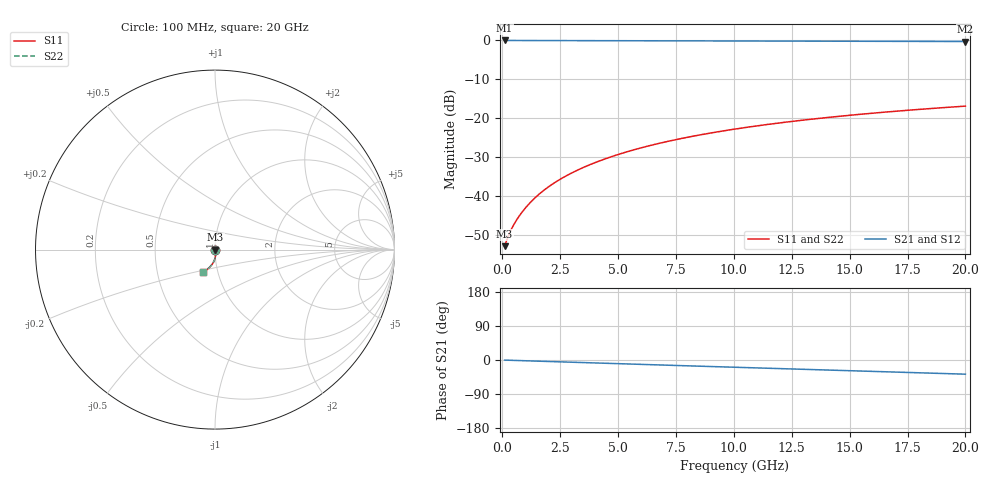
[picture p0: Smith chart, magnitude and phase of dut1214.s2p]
! Touchstone file exported from HFSS 2026.1.0
!  File:  C:/ffzhzh/LocalFiles/Ansys_Project_Files/temp_train_BSMRDL_1214_1783176715_51560.aedt
!  Generated:  10:53:04 PM Jul  4, 2026
!  Design:  BSMRDL
!  Project:  temp_train_BSMRDL_1214_1783176715_51560
! Variables:
!  h_bsmrdl = 4.39um
!  h_ox = 20um
!  h_rdl = 5um
!  h_sub = 80um
!  h_tmrdl = 5um
!  h_tsv = 80um
!  h_via = 3um
!  l_bsmrdl = 651.36um
!  l_sub = 1051.36um
!  l_tmrdl = 200um
!  m_sub = 200um
!  pitch = 30.63um
!  r_tsv = 6um
!  s_tmrdl = 10um
!  w_bsmrdl = 27.87um
!  w_sub = 500um
!  w_tmrdl = 12um
!  x_tsv_center1 = 206um
!  x_tsv_center2 = 885.23um
!  x_tsv_center3 = 1097.23um
!  x_tsv_center4 = 1776.46um
!  x_tsv_center5 = 1988.46um
!  x_tsv_center6 = 2667.69um
# GHz S MA R 50.000000
! Terminal data exported
! Port[1] = BSM_RDL1_1_T1
! Port[2] = BSM_RDL1_1_T2
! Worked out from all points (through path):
!   200 points, 100 MHz to 20 GHz, reference 50 ohm
!   highest |S21| = -0.02 dB at 100 MHz (marker M1); lowest = -0.3 dB at 20 GHz (marker M2)
!   group delay of S21, straight-line fit = 5.17 ps
!   lowest |S11| = -52.9 dB at 100 MHz (marker M3), VSWR 1.00, Z = 50.2 + j0.00899 ohm
!   |S11| at or under -10 dB: start of sweep to end of sweep
!   |S22| runs from -52.9 to -16.9 dB; largest |S21 - S12| = 4.1e-15
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0.1  0.002268 2.3  0.9977 -0.2  0.9977 -0.2  0.002268 2.3
! Gamma 0 0 0 0
! Port Impedance 50 0 50 0
0.3  0.003274 -10.9  0.9968 -0.7  0.9968 -0.7  0.003273 -10.9
0.4  0.003791 -19.5  0.9964 -0.9  0.9964 -0.9  0.00379 -19.5
0.6  0.004826 -33.9  0.9959 -1.2  0.9959 -1.2  0.004826 -33.9
0.9  0.006462 -48.2  0.9955 -1.8  0.9955 -1.8  0.006462 -48.2
1.1  0.00761 -54.6  0.9953 -2.2  0.9953 -2.2  0.00761 -54.6
1.3  0.008795 -59.3  0.9951 -2.6  0.9951 -2.6  0.008794 -59.3
1.5  0.01001 -63.0  0.995 -3.0  0.995 -3.0  0.01001 -63.0
1.8  0.01188 -67.1  0.9946 -3.6  0.9946 -3.6  0.01188 -67.2
2.3  0.0151 -71.9  0.9941 -4.5  0.9941 -4.5  0.0151 -72.0
2.9  0.01912 -75.9  0.9933 -5.7  0.9933 -5.7  0.01912 -75.9
3.5  0.02328 -78.7  0.9925 -6.9  0.9925 -6.9  0.02327 -78.8
4.2  0.02828 -81.5  0.9915 -8.2  0.9915 -8.2  0.02827 -81.5
5  0.03415 -84.2  0.9902 -9.7  0.9902 -9.7  0.03414 -84.2
5.9  0.04089 -86.9  0.9889 -11.4  0.9889 -11.4  0.04088 -86.9
6.8  0.04772 -89.4  0.9875 -13.1  0.9875 -13.1  0.04772 -89.4
8.3  0.05919 -93.4  0.9852 -15.9  0.9852 -15.9  0.05918 -93.4
10.1  0.07291 -97.8  0.9826 -19.3  0.9826 -19.3  0.07289 -97.9
11.7  0.08494 -101.6  0.9802 -22.2  0.9802 -22.2  0.08492 -101.6
13.4  0.09748 -105.4  0.9776 -25.4  0.9776 -25.4  0.09746 -105.4
16.7  0.1209 -112.4  0.9724 -31.4  0.9724 -31.4  0.1209 -112.4
20  0.1429 -119.1  0.967 -37.4  0.967 -37.4  0.1429 -119.2
